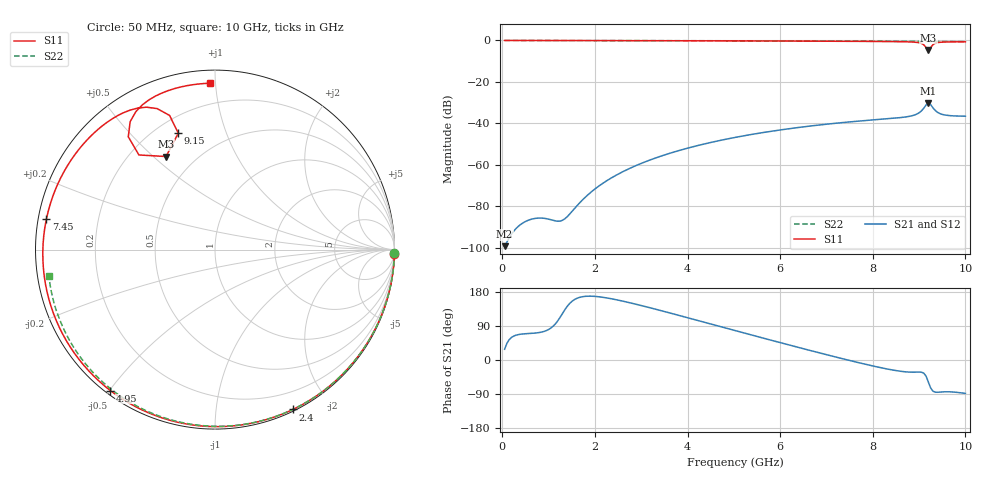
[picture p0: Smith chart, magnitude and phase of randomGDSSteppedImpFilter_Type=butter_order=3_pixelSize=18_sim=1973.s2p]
! freq	dB(S11)	phase(S11)	dB(S12)	phase(S12)
!  dB(S21)	phase(S21)	dB(S22)	phase(S22)
!S-par simulation data
#  GHz  S  DB  R 50
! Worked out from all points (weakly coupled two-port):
!   200 points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, 50 MHz to 10 GHz, reference 50 ohm
!   highest |S21| = -30.27 dB at 9.2 GHz (marker M1); lowest = -99.3 dB at 50 MHz (marker M2)
!   lowest |S11| = -4.6 dB at 9.2 GHz (marker M3), VSWR 3.83, Z = 17.4 + j27.5 ohm
!   |S11| at or under -10 dB: nowhere
!   |S22| runs from -0.6 to 0.0 dB; largest |S21 - S12| = 0
!   S11 on the Smith chart (normalised r, x): 50 MHz: 0, -83; 2.4 GHz: 0.02, -1.60; 4.95 GHz: 0.01, -0.50; 7.45 GHz: 0.02, +0.09; 9.15 GHz: 0.29, +0.69; 10 GHz: 0.07, +0.96
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0.05  -0.00 -1.4  -99.30 28.3  -99.30 28.3  -0.00 -1.0
0.8  -0.03 -21.9  -85.73 72.5  -85.73 72.5  -0.02 -15.5
1.6  -0.05 -43.2  -80.10 162.1  -80.10 162.1  -0.04 -30.7
1.75  -0.06 -47.2  -76.57 167.4  -76.57 167.4  -0.04 -33.5
2.4  -0.08 -64.0  -65.78 160.6  -65.78 160.6  -0.06 -45.6
3.4  -0.12 -89.1  -56.03 131.2  -56.03 131.2  -0.08 -63.6
4.15  -0.15 -107.3  -51.12 106.7  -51.12 106.7  -0.11 -76.5
4.95  -0.19 -126.6  -47.14 80.2  -47.14 80.2  -0.14 -90.0
5.05  -0.20 -129.0  -46.71 76.9  -46.71 76.9  -0.14 -91.6
5.9  -0.26 -149.7  -43.53 49.1  -43.53 49.1  -0.18 -105.4
6.7  -0.32 -169.9  -41.17 23.5  -41.17 23.5  -0.23 -118.0
7.45  -0.40 169.8  -39.42 0.2  -39.42 0.2  -0.29 -129.8
8.35  -0.53 142.6  -37.74 -24.7  -37.74 -24.7  -0.37 -143.9
8.75  -0.66 128.1  -36.79 -31.7  -36.79 -31.7  -0.41 -150.3
9  -1.10 115.7  -34.92 -31.8  -34.92 -31.8  -0.44 -154.3
9.1  -2.06 108.7  -32.74 -34.7  -32.74 -34.7  -0.46 -155.9
9.15  -3.35 107.5  -31.20 -42.3  -31.20 -42.3  -0.46 -156.7
9.2  -4.64 117.7  -30.27 -57.8  -30.27 -57.8  -0.47 -157.5
9.25  -3.40 128.8  -31.00 -73.9  -31.00 -73.9  -0.47 -158.3
9.35  -1.36 123.6  -33.81 -84.9  -33.81 -84.9  -0.48 -160.0
9.6  -0.71 108.7  -36.14 -83.8  -36.14 -83.8  -0.51 -164.1
10  -0.66 91.9  -36.56 -88.2  -36.56 -88.2  -0.57 -170.9
